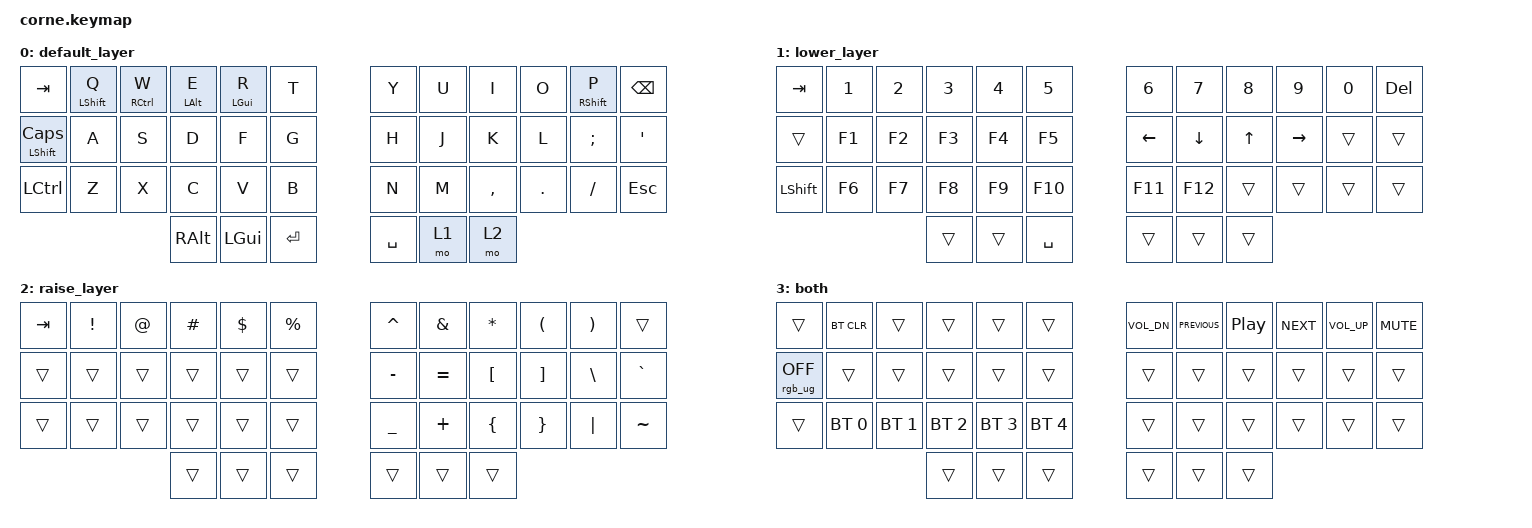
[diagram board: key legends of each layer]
/*
 * Copyright (c) 2020 The ZMK Contributors
 *
 * SPDX-License-Identifier: MIT
 */

#include <behaviors.dtsi>
#include <dt-bindings/zmk/bt.h>
#include <dt-bindings/zmk/keys.h>
#include <dt-bindings/zmk/rgb.h>

/ {
    behaviors {
        hml: homerow_mods_left {
            compatible = "zmk,behavior-hold-tap";
            label = "HOMEROW_MODS_LEFT_HAND";
            bindings = <&kp>, <&kp>;

            #binding-cells = <2>;
            tapping-term-ms = <250>;
            hold-trigger-key-positions = <41 39 40 30 18 6 7 8 9 10 11 19 20 21 22 23 31 32 33 34 35>;
        };

        hmr: homerow_mods_right {
            compatible = "zmk,behavior-hold-tap";
            label = "HOMEROW_MODS_RIGHT_HAND";
            bindings = <&kp>, <&kp>;

            #binding-cells = <2>;
            tapping-term-ms = <250>;
            hold-trigger-key-positions = <0 1 2 3 4 5 12 13 14 15 16 17 24 25 26 27 28 29 36 37 38>;
        };
    };

    combos {
        compatible = "zmk,combos";

        caps_word {
            bindings = <&caps_word>;
            key-positions = <17 18>;
        };
    };

    keymap {
        compatible = "zmk,keymap";

        default_layer {
            // -----------------------------------------------------------------------------------------
            // |  TAB |  Q  |  W  |  E  |  R  |  T  |   |  Y  |  U   |  I  |  O  |  P  | BKSP |
            // | SHFT |  A  |  S  |  D  |  F  |  G  |   |  H  |  J   |  K  |  L  |  ;  |  '   |
            // | CTRL |  Z  |  X  |  C  |  V  |  B  |   |  N  |  M   |  ,  |  .  |  /  | ESC  |
            //                    | ALT | GUI | ENT |   | SPC | LWR  | RSE |

            bindings = <
&kp TAB              &hml LSHIFT Q  &hml RIGHT_CONTROL W  &hml LEFT_ALT E  &hml LEFT_GUI R  &kp T      &kp Y      &kp U  &kp I      &kp O    &hmr RIGHT_SHIFT P  &kp BSPC
&mt LEFT_SHIFT CAPS  &kp A          &kp S                 &kp D            &kp F            &kp G      &kp H      &kp J  &kp K      &kp L    &kp SEMICOLON       &kp SQT
&kp LCTRL            &kp Z          &kp X                 &kp C            &kp V            &kp B      &kp N      &kp M  &kp COMMA  &kp DOT  &kp FSLH            &kp ESC
                                                          &kp RALT         &kp LGUI         &kp RET    &kp SPACE  &mo 1  &mo 2
            >;
        };

        lower_layer {
            // -----------------------------------------------------------------------------------------
            // |  TAB |  1  |  2  |  3  |  4  |  5  |   |  6  |  7  |  8  |  9  |  0  | DEL  |
            // | BTCLR| BT1 | BT2 | BT3 | BT4 | BT5 |   | LFT | DWN |  UP | RGT |     |      |
            // | SHFT |     |     |     |     |     |   |     |     |     |     |     |      |
            //                    | ALT | GUI | ENT |   | SPC | LWR | RSE |

            bindings = <
&kp TAB    &kp N1  &kp N2  &kp N3  &kp N4  &kp N5       &kp N6    &kp N7    &kp N8  &kp N9     &kp N0  &kp DELETE
&trans     &kp F1  &kp F2  &kp F3  &kp F4  &kp F5       &kp LEFT  &kp DOWN  &kp UP  &kp RIGHT  &trans  &trans
&kp LSHFT  &kp F6  &kp F7  &kp F8  &kp F9  &kp F10      &kp F11   &kp F12   &trans  &trans     &trans  &trans
                           &trans  &trans  &kp SPACE    &trans    &trans    &trans
            >;
        };

        raise_layer {
            // -----------------------------------------------------------------------------------------
            // |  TAB |  !  |  @  |  #  |  $  |  %  |   |  ^  |  &  |  *  |  (  |  )  | BKSP |
            // | CTRL |     |     |     |     |     |   |  -  |  =  |  [  |  ]  |  \  |  `   |
            // | SHFT |     |     |     |     |     |   |  _  |  +  |  {  |  }  | "|" |  ~   |
            //                    | ALT | GUI | ENT |   | SPC | LWR | RSE |

            bindings = <
&kp TAB  &kp EXCL  &kp AT  &kp HASH  &kp DLLR  &kp PRCNT    &kp CARET  &kp AMPS   &kp ASTRK  &kp LPAR  &kp RPAR  &trans
&trans   &trans    &trans  &trans    &trans    &trans       &kp MINUS  &kp EQUAL  &kp LBKT   &kp RBKT  &kp BSLH  &kp GRAVE
&trans   &trans    &trans  &trans    &trans    &trans       &kp UNDER  &kp PLUS   &kp LBRC   &kp RBRC  &kp PIPE  &kp TILDE
                           &trans    &trans    &trans       &trans     &trans     &trans
            >;
        };

        both {
            bindings = <
&trans           &bt BT_CLR    &trans        &trans        &trans        &trans          &kp C_VOL_DN  &kp C_PREVIOUS  &kp C_PP  &kp C_NEXT  &kp C_VOLUME_UP  &kp K_MUTE
&rgb_ug RGB_OFF  &trans        &trans        &trans        &trans        &trans          &trans        &trans          &trans    &trans      &trans           &trans
&trans           &bt BT_SEL 0  &bt BT_SEL 1  &bt BT_SEL 2  &bt BT_SEL 3  &bt BT_SEL 4    &trans        &trans          &trans    &trans      &trans           &trans
                                             &trans        &trans        &trans          &trans        &trans          &trans
            >;
        };
    };

    conditional_layers {
        compatible = "zmk,conditional-layers";

        tri_layer {
            if-layers = <2 1>;
            then-layer = <3>;
        };
    };
};
